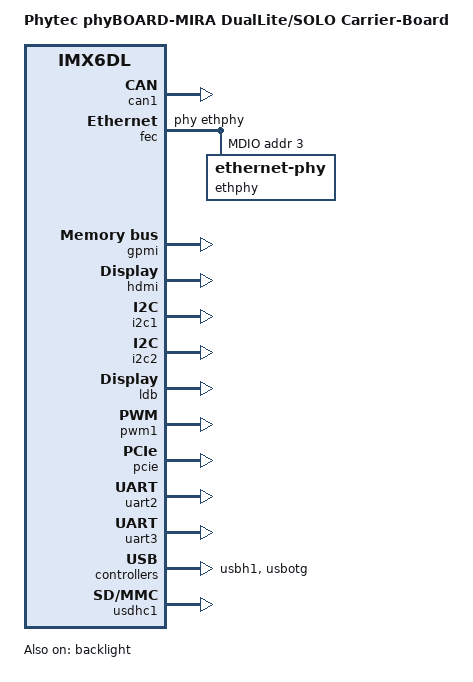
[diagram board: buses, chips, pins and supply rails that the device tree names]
/*
 * Copyright 2014 Christian Hemp, Phytec Messtechnik GmbH
 *
 * The code contained herein is licensed under the GNU General Public
 * License. You may obtain a copy of the GNU General Public License
 * Version 2 or later at the following locations:
 *
 * http://www.opensource.org/licenses/gpl-license.html
 * http://www.gnu.org/copyleft/gpl.html
 */

/dts-v1/;
#include "imx6dl.dtsi"
#include "imx6qdl-phytec-phycore-som.dtsi"
#include "imx6qdl-phytec-mira.dtsi"
#include "imx6qdl-phytec-mira-eval-01.dtsi"


/ {
	model = "Phytec phyBOARD-MIRA DualLite/SOLO Carrier-Board";
	compatible = "phytec,imx6dl-pbac06", "phytec,imx6qdl-pcm058", "fsl,imx6dl";

	chosen {
		linux,stdout-path = &uart2;
	};
};

&backlight {
	status = "okay";
};

&can1 {
	status = "okay";
};

&fec {
	status = "okay";
	phy-handle = <&ethphy>;

	mdio {
		#address-cells = <1>;
		#size-cells = <0>;

		ethphy: ethernet-phy@3 {
			reg = <3>;
			max-speed = <100>;
		};
	};
};

&gpmi {
	status = "okay";
	#address-cells = <1>;
	#size-cells = <1>;

	partition@0 {
		label = "barebox";
		reg = <0x0 0x400000>;
	};

	partition@1 {
		label = "barebox-environment";
		reg = <0x400000 0x100000>;
	};

	partition@2 {
		label = "oftree";
		reg = <0x500000 0x100000>;
	};

	partition@3 {
		label = "kernel";
		reg = <0x600000 0x800000>;
	};

	partition@4 {
		label = "root";
		reg = <0xe00000 0x0>;
	};

};

&hdmi {
	status = "okay";
};

&i2c1 {
	status = "okay";
};

&i2c2 {
	status = "okay";
};

&ldb {
	status = "okay";

	lvds-channel@0 {
		status = "okay";
	};
};

&pwm1 {
	status = "okay";
};

&pcie {
	status = "okay";
};

&uart2 {
	status = "okay";
};

&uart3 {
	status = "okay";
};

&usbh1 {
	status = "okay";
};

&usbotg {
	status = "okay";
};

&usdhc1 {
	status = "okay";
};
